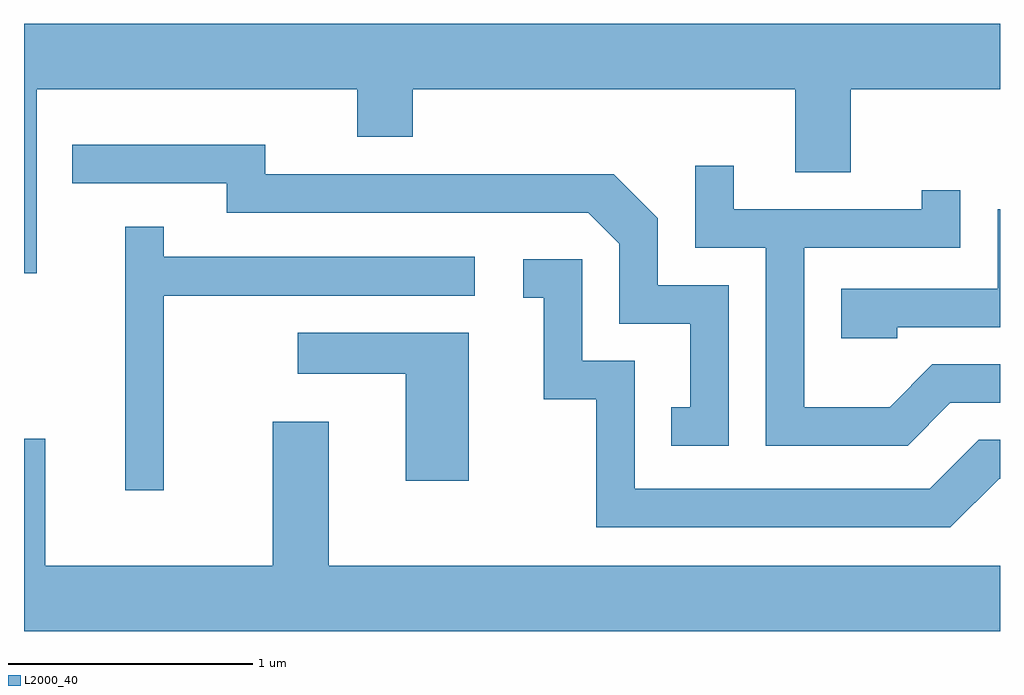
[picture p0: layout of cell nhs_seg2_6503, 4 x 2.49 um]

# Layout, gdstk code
import gdstk
lib = gdstk.Library(unit=1e-6, precision=1e-09)
def P(c, l, *ps):  # polygons
    for p in ps: c.add(gdstk.Polygon(p, *l))
L2000_40 = (2000, 40)

nhs_seg2_6503 = lib.new_cell('nhs_seg2_6503')
P(nhs_seg2_6503, L2000_40, [(377.664,999.476),(378.976,999.476),(378.976,999.281),(379.204,999.281),(379.204,999.476),(380.771,999.476),(380.771,999.136),(380.999,999.136),(380.999,999.476),(381.611,999.476),(381.611,999.744),(377.611,999.744),(377.611,998.723),(377.664,998.723)],
  [(380.499,998.674),(380.209,998.674),(380.209,998.947),(380.027,999.129),(378.599,999.129),(378.599,999.249),(377.808,999.249),(377.808,999.091),(378.441,999.091),(378.441,998.971),(379.924,998.971),(380.051,998.844),(380.051,998.516),(380.341,998.516),(380.341,998.174),(380.263,998.174),(380.263,998.016),(380.499,998.016)],
  [(381.407,998.191),(381.611,998.191),(381.611,998.349),(381.334,998.349),(381.159,998.174),(380.809,998.174),(380.809,998.826),(381.449,998.826),(381.449,999.063),(381.291,999.063),(381.291,998.984),(380.519,998.984),(380.519,999.163),(380.361,999.163),(380.361,998.826),(380.651,998.826),(380.651,998.016),(381.232,998.016)],
  [(381.189,998.501),(381.611,998.501),(381.611,998.984),(381.601,998.984),(381.601,998.659),(380.961,998.659),(380.961,998.456),(381.189,998.456)],
  [(378.184,998.631),(379.458,998.631),(379.458,998.789),(378.184,998.789),(378.184,998.913),(378.026,998.913),(378.026,997.833),(378.184,997.833)],
  [(381.607,997.881),(381.611,997.881),(381.611,998.039),(381.524,998.039),(381.324,997.839),(380.114,997.839),(380.114,998.364),(379.899,998.364),(379.899,998.779),(379.658,998.779),(379.658,998.621),(379.741,998.621),(379.741,998.206),(379.956,998.206),(379.956,997.681),(381.407,997.681)],
  [(379.434,998.479),(378.733,998.479),(378.733,998.311),(379.176,998.311),(379.176,997.871),(379.434,997.871)],
  [(381.611,997.524),(378.859,997.524),(378.859,998.114),(378.631,998.114),(378.631,997.524),(377.699,997.524),(377.699,998.044),(377.611,998.044),(377.611,997.256),(381.611,997.256)])

lib.write_gds('nhs_seg2_6503.gds')
